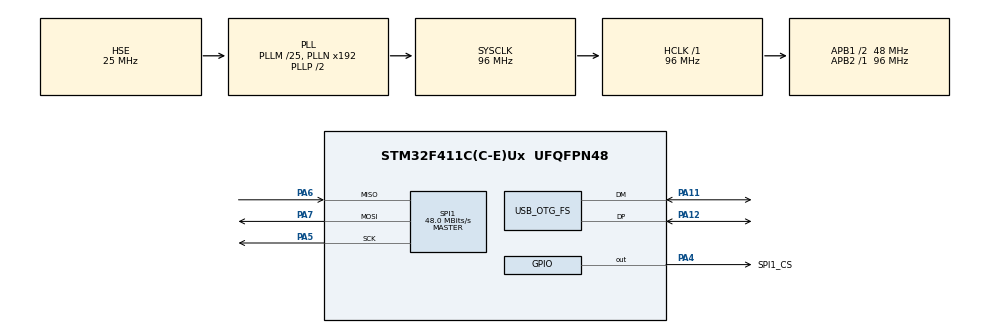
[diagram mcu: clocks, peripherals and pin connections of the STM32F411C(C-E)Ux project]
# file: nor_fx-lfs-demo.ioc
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Mcu.Family=STM32F4
Mcu.Name=STM32F411C(C-E)Ux
Mcu.Package=UFQFPN48
NVIC.OTG_FS_IRQn=true\:0\:0\:false\:false\:true\:false\:true\:true
NVIC.PriorityGroup=NVIC_PRIORITYGROUP_4
PA11.Mode=Device_Only
PA11.Signal=USB_OTG_FS_DM
PA12.Mode=Device_Only
PA12.Signal=USB_OTG_FS_DP
PA13.Mode=Serial_Wire
PA13.Signal=SYS_JTMS-SWDIO
PA14.Mode=Serial_Wire
PA14.Signal=SYS_JTCK-SWCLK
PA4.GPIO_Label=SPI1_CS
PA4.Signal=GPIO_Output
PA5.Mode=Full_Duplex_Master
PA5.Signal=SPI1_SCK
PA6.Mode=Full_Duplex_Master
PA6.Signal=SPI1_MISO
PA7.Mode=Full_Duplex_Master
PA7.Signal=SPI1_MOSI
PH0\ -\ OSC_IN.Mode=HSE-External-Oscillator
PH0\ -\ OSC_IN.Signal=RCC_OSC_IN
PH1\ -\ OSC_OUT.Mode=HSE-External-Oscillator
PH1\ -\ OSC_OUT.Signal=RCC_OSC_OUT
ProjectManager.HeapSize=0x200
ProjectManager.StackSize=0x400
ProjectManager.TargetToolchain=CMake
RCC.48MHZClocksFreq_Value=48000000
RCC.AHBFreq_Value=96000000
RCC.APB1CLKDivider=RCC_HCLK_DIV2
RCC.APB1Freq_Value=48000000
RCC.APB1TimFreq_Value=96000000
RCC.APB2Freq_Value=96000000
RCC.APB2TimFreq_Value=96000000
RCC.CortexFreq_Value=96000000
RCC.HCLKFreq_Value=96000000
RCC.HSE_VALUE=25000000
RCC.HSI_VALUE=16000000
RCC.LSE_VALUE=32768
RCC.PLLM=25
RCC.SYSCLKFreq_VALUE=96000000
RCC.SYSCLKSource=RCC_SYSCLKSOURCE_PLLCLK
RCC.VCOOutputFreq_Value=192000000
SPI1.CalculateBaudRate=48.0 MBits/s
SPI1.Direction=SPI_DIRECTION_2LINES
SPI1.Mode=SPI_MODE_MASTER
SPI1.VirtualType=VM_MASTER
USB_DEVICE.CLASS_NAME_FS=CDC
USB_DEVICE.VirtualMode=Cdc
USB_DEVICE.VirtualModeFS=Cdc_FS
USB_OTG_FS.VirtualMode=Device_Only
VP_USB_DEVICE_VS_USB_DEVICE_CDC_FS.Mode=CDC_FS
board=custom

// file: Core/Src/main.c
/* USER CODE BEGIN Header */
/**
  ******************************************************************************
  * @file           : main.c
  * @brief          : Main program body
  ******************************************************************************
  * @attention
  *
  * Copyright (c) 2026 STMicroelectronics.
  * All rights reserved.
  *
  * This software is licensed under terms that can be found in the LICENSE file
  * in the root directory of this software component.
  * If no LICENSE file comes with this software, it is provided AS-IS.
  *
  ******************************************************************************
  */
/* USER CODE END Header */
#include "main.h"
#include "usb_device.h"

/* USER CODE BEGIN Includes */
#include "nor_fx.h"
#include "stm32f4x_port.h"
#include "nor_fx_lfs.h"

/* USER CODE END Includes */

SPI_HandleTypeDef hspi1;

/* USER CODE BEGIN PV */

struct norfx_device dev;

/* USER CODE END PV */

void SystemClock_Config(void);
static void MX_GPIO_Init(void);
static void MX_SPI1_Init(void);

int main(void)
{

  /* MCU Configuration--------------------------------------------------------*/

  /* Reset of all peripherals, Initializes the Flash interface and the Systick. */
  HAL_Init();

  /* Configure the system clock */
  SystemClock_Config();

  /* Initialize all configured peripherals */
  MX_GPIO_Init();
  MX_SPI1_Init();
  MX_USB_DEVICE_Init();
  /* USER CODE BEGIN 2 */
  stm32f4x_port_context_t port = {
  .hspi = &hspi1,
  .cs_port = SPI1_CS_GPIO_Port,
  .cs_pin = SPI1_CS_Pin,
  };

  dev.context = &port;
  dev.spi_chip_select = spi_chip_select;
  dev.spi_chip_deselect = spi_chip_deselect;
  dev.spi_write = spi_write;
  dev.spi_read = spi_read;
  dev.get_tick_ms = get_tick_ms;
  dev.delay_ms = delay_ms;

  norfx_lfs_ctx_t lfs_ctx = {
    .dev = &dev,
  };

  lfs_t lfs;
  lfs_file_t file;

  const struct lfs_config cfg = {
    // User-provided context
    .context = (void *)&lfs_ctx,

    // Block device operations
    .read = norfx_lfs_read,
    .prog = norfx_lfs_prog,
    .erase = norfx_lfs_erase,
    .sync = norfx_lfs_sync,

    // Block device configuration
    .read_size = 256,
    .prog_size = 256,
    .block_size = NORFX_SECTOR_SIZE,
    .block_count = NORFX_BLOCK_COUNT,
    .cache_size = 256,
    .lookahead_size = 16,
    .block_cycles = 500,
  };

  /******************* LittleFS Example - Update boot count *******************/

  // Mount the filesystem
  int err = lfs_mount(&lfs, &cfg);

  // Reformat if we can't mount the filesystem (This should happen only on the
  // first boot)
  if (err) {
    err = lfs_format(&lfs, &cfg);
    if (err) {
      Error_Handler();
    }

    err = lfs_mount(&lfs, &cfg);
    if (err) {
      Error_Handler();
    }
  }

  // Read current count
  uint32_t boot_count = 0;
  err = lfs_file_open(&lfs, &file, "boot_count", LFS_O_RDWR | LFS_O_CREAT);
  if (err) {
    Error_Handler();
  }

  lfs_ssize_t bytes_read = lfs_file_read(&lfs, &file, &boot_count,
                                         sizeof(boot_count));
  if (bytes_read < 0) {
    lfs_file_close(&lfs, &file);
    Error_Handler();
  }

  // Update boot count
  boot_count++;
  err = lfs_file_rewind(&lfs, &file);
  if (err) {
    lfs_file_close(&lfs, &file);
    Error_Handler();
  }

  lfs_ssize_t bytes_written = lfs_file_write(&lfs, &file, &boot_count,
                                             sizeof(boot_count));
  if (bytes_written != (lfs_ssize_t)sizeof(boot_count)) {
    lfs_file_close(&lfs, &file);
    Error_Handler();
  }

  // Storage is not updated until the file is closed succesfully
  err = lfs_file_close(&lfs, &file);
  if (err) {
    Error_Handler();
  }

  // Release any resources that are used
  err = lfs_unmount(&lfs);
  if (err) {
    Error_Handler();
  }

  /* USER CODE END 2 */

  /* Infinite loop */
  while (1)
  {

  }
}

void SystemClock_Config(void)
{
  RCC_OscInitTypeDef RCC_OscInitStruct = {0};
  RCC_ClkInitTypeDef RCC_ClkInitStruct = {0};

  /** Configure the main internal regulator output voltage
  */
  __HAL_RCC_PWR_CLK_ENABLE();
  __HAL_PWR_VOLTAGESCALING_CONFIG(PWR_REGULATOR_VOLTAGE_SCALE1);

  /** Initializes the RCC Oscillators according to the specified parameters
  * in the RCC_OscInitTypeDef structure.
  */
  RCC_OscInitStruct.OscillatorType = RCC_OSCILLATORTYPE_HSE;
  RCC_OscInitStruct.HSEState = RCC_HSE_ON;
  RCC_OscInitStruct.PLL.PLLState = RCC_PLL_ON;
  RCC_OscInitStruct.PLL.PLLSource = RCC_PLLSOURCE_HSE;
  RCC_OscInitStruct.PLL.PLLM = 25;
  RCC_OscInitStruct.PLL.PLLN = 192;
  RCC_OscInitStruct.PLL.PLLP = RCC_PLLP_DIV2;
  RCC_OscInitStruct.PLL.PLLQ = 4;
  if (HAL_RCC_OscConfig(&RCC_OscInitStruct) != HAL_OK)
  {
    Error_Handler();
  }

  /** Initializes the CPU, AHB and APB buses clocks
  */
  RCC_ClkInitStruct.ClockType = RCC_CLOCKTYPE_HCLK|RCC_CLOCKTYPE_SYSCLK
                              |RCC_CLOCKTYPE_PCLK1|RCC_CLOCKTYPE_PCLK2;
  RCC_ClkInitStruct.SYSCLKSource = RCC_SYSCLKSOURCE_PLLCLK;
  RCC_ClkInitStruct.AHBCLKDivider = RCC_SYSCLK_DIV1;
  RCC_ClkInitStruct.APB1CLKDivider = RCC_HCLK_DIV2;
  RCC_ClkInitStruct.APB2CLKDivider = RCC_HCLK_DIV1;

  if (HAL_RCC_ClockConfig(&RCC_ClkInitStruct, FLASH_LATENCY_3) != HAL_OK)
  {
    Error_Handler();
  }
}

static void MX_SPI1_Init(void)
{

  /* SPI1 parameter configuration*/
  hspi1.Instance = SPI1;
  hspi1.Init.Mode = SPI_MODE_MASTER;
  hspi1.Init.Direction = SPI_DIRECTION_2LINES;
  hspi1.Init.DataSize = SPI_DATASIZE_8BIT;
  hspi1.Init.CLKPolarity = SPI_POLARITY_LOW;
  hspi1.Init.CLKPhase = SPI_PHASE_1EDGE;
  hspi1.Init.NSS = SPI_NSS_SOFT;
  hspi1.Init.BaudRatePrescaler = SPI_BAUDRATEPRESCALER_2;
  hspi1.Init.FirstBit = SPI_FIRSTBIT_MSB;
  hspi1.Init.TIMode = SPI_TIMODE_DISABLE;
  hspi1.Init.CRCCalculation = SPI_CRCCALCULATION_DISABLE;
  hspi1.Init.CRCPolynomial = 10;
  if (HAL_SPI_Init(&hspi1) != HAL_OK)
  {
    Error_Handler();
  }

}

static void MX_GPIO_Init(void)
{
  GPIO_InitTypeDef GPIO_InitStruct = {0};

  /* GPIO Ports Clock Enable */
  __HAL_RCC_GPIOH_CLK_ENABLE();
  __HAL_RCC_GPIOA_CLK_ENABLE();

  /*Configure GPIO pin Output Level */
  HAL_GPIO_WritePin(SPI1_CS_GPIO_Port, SPI1_CS_Pin, GPIO_PIN_RESET);

  /*Configure GPIO pin : SPI1_CS_Pin */
  GPIO_InitStruct.Pin = SPI1_CS_Pin;
  GPIO_InitStruct.Mode = GPIO_MODE_OUTPUT_PP;
  GPIO_InitStruct.Pull = GPIO_NOPULL;
  GPIO_InitStruct.Speed = GPIO_SPEED_FREQ_LOW;
  HAL_GPIO_Init(SPI1_CS_GPIO_Port, &GPIO_InitStruct);

}

void Error_Handler(void)
{
  __disable_irq();
  while (1)
  {
  }
}
